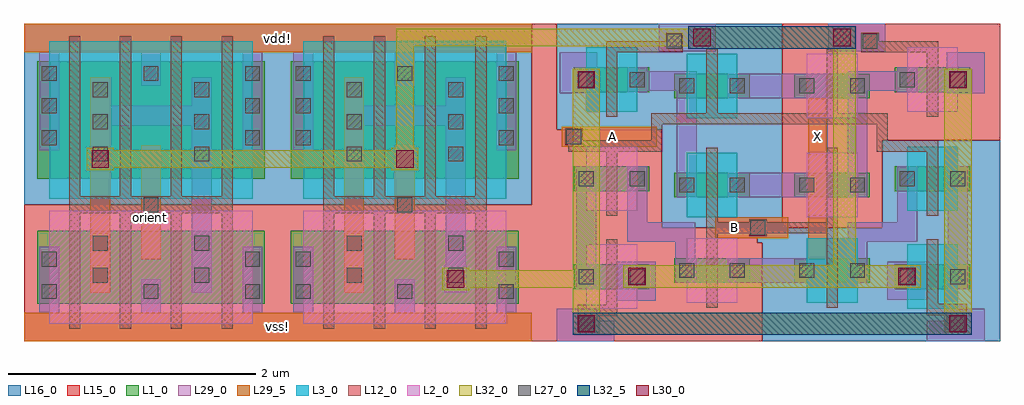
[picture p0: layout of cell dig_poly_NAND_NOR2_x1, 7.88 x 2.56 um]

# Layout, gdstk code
from math import pi, radians
import gdstk
lib = gdstk.Library(unit=1e-6, precision=1e-09)
def R(c, l, rs):  # rectangles x0, y0, x1, y1
    for r in rs: c.add(gdstk.rectangle(r[:2], r[2:], *l))
def A(c, l, x, y, w, h, nx, ny, dx, dy):  # array of equal rectangles
    R(c, l, [(x+i*dx, y+j*dy, x+i*dx+w, y+j*dy+h) for i in range(nx) for j in range(ny)])
L1_0 = (1, 0)
L2_0 = (2, 0)
L3_0 = (3, 0)
L12_0 = (12, 0)
L15_0 = (15, 0)
L16_0 = (16, 0)
L27_0 = (27, 0)
L29_0 = (29, 0)
L29_5 = (29, 5)
L30_0 = (30, 0)
L32_0 = (32, 0)
L32_5 = (32, 5)

nsoim_cdns_570207291820 = lib.new_cell('nsoim_CDNS_570207291820')
R(nsoim_cdns_570207291820, L1_0, [(-0.26,0.2,0,0.4), (0,0.2,0.09,0.4), (0.09,0.2,0.35,0.4)])
R(nsoim_cdns_570207291820, L2_0, [(-0.16,0.04,0.25,0.56)])
R(nsoim_cdns_570207291820, L12_0, [(0,0,0.09,0.09), (0,0.09,0.09,0.2), (0,0.2,0.09,0.4), (0,0.4,0.09,0.51), (0,0.51,0.09,0.6)])
R(nsoim_cdns_570207291820, L15_0, [(-0.32,-0.01,0.41,0.61)])
R(nsoim_cdns_570207291820, L27_0, [(-0.22,0.24,-0.1,0.36), (0.19,0.24,0.31,0.36)])
R(nsoim_cdns_570207291820, L29_0, [(-0.24,0.2,-0.08,0.4), (0.17,0.2,0.33,0.4)])

psoim_cdns_570207291821 = lib.new_cell('psoim_CDNS_570207291821')
R(psoim_cdns_570207291821, L1_0, [(-0.26,0.2,0,0.4), (0,0.2,0.09,0.4), (0.09,0.2,0.35,0.4)])
R(psoim_cdns_570207291821, L3_0, [(-0.16,0.04,0.25,0.56)])
R(psoim_cdns_570207291821, L12_0, [(0,0,0.09,0.09), (0,0.09,0.09,0.2), (0,0.2,0.09,0.4), (0,0.4,0.09,0.51), (0,0.51,0.09,0.6)])
R(psoim_cdns_570207291821, L16_0, [(-0.32,-0.01,0.41,0.61)])
R(psoim_cdns_570207291821, L27_0, [(-0.22,0.24,-0.1,0.36), (0.19,0.24,0.31,0.36)])
R(psoim_cdns_570207291821, L29_0, [(-0.24,0.2,-0.08,0.4), (0.17,0.2,0.33,0.4)])

m1_m2_cdns_570207291820 = lib.new_cell('M1_M2_CDNS_570207291820')
R(m1_m2_cdns_570207291820, L29_0, [(-0.11,-0.09,0.11,0.09)])
R(m1_m2_cdns_570207291820, L30_0, [(-0.07,-0.07,0.07,0.07)])
R(m1_m2_cdns_570207291820, L32_0, [(-0.09,-0.11,0.09,0.11)])

poly_m1_cdns_57020729182 = lib.new_cell('POLY_M1_CDNS_570207291821')
R(poly_m1_cdns_57020729182, L12_0, [(-0.07,-0.07,0.07,0.07)])
R(poly_m1_cdns_57020729182, L27_0, [(-0.06,-0.06,0.06,0.06)])
R(poly_m1_cdns_57020729182, L29_0, [(-0.1,-0.08,0.1,0.08)])

polymorphic_nand_nor2_x1 = lib.new_cell('polymorphic_NAND_NOR2_x1')
R(polymorphic_nand_nor2_x1, L12_0, [(0.31,0.07,0.35,0.205), (3.13,0.07,3.17,0.21), (0.17,0.21,0.195,0.295), (3.285,0.21,3.31,0.3), (1.21,0.87,1.3,0.96), (2.18,0.87,2.27,0.96)])
R(polymorphic_nand_nor2_x1, L15_0, [(0,0,0.08,1.705), (0.08,0,0.81,0.21), (0.81,0,1.62,0.26), (1.62,0,1.66,0.795), (0.81,0.26,0.85,1.705), (0.85,0.26,0.89,0.915), (0.08,0.83,0.81,1), (0.89,0.88,1.62,0.915), (1.82,0.915,1.86,2.56), (1.86,0.915,2.59,0.95), (2.59,0.915,2.63,2.42), (1.86,1.57,2.59,1.75), (0.08,1.62,0.81,1.705), (2.63,1.62,2.67,2.42), (2.67,1.62,3.4,1.81), (3.4,1.62,3.455,2.56), (1.86,2.37,2.59,2.56), (2.59,2.42,3.4,2.56)])
R(polymorphic_nand_nor2_x1, L16_0, [(1.66,0,1.86,0.87), (1.86,0,2.59,0.26), (2.59,0,3.4,0.21), (3.4,0,3.455,1.62), (2.59,0.21,2.63,0.915), (2.63,0.21,2.67,1.62), (1.62,0.795,1.66,2.56), (2.67,0.83,3.4,1), (1.66,0.87,1.82,2.56), (1.82,0.87,1.86,0.915), (1.86,0.88,2.59,0.915), (0.85,0.915,0.89,1.705), (0.89,0.915,1.62,0.95), (0.89,1.57,1.62,1.75), (0,1.705,0.08,2.56), (0.08,1.705,0.89,1.8), (0.81,1.8,0.89,2.42), (0.89,2.37,1.62,2.56), (0.08,2.42,0.89,2.56)])
R(polymorphic_nand_nor2_x1, L29_0, [(0,0,0.33,0.26), (0.305,0,0.465,0.165), (2.99,0,3.15,0.165), (3.15,0,3.455,0.26), (0.48,0.325,0.8,0.64), (2.67,0.335,3,0.64), (1.28,0.83,1.87,1), (0.04,1.57,0.81,1.73), (0.025,2,0.33,2.33), (3.15,2,3.455,2.33), (0.825,2.34,1.285,2.56), (2.195,2.34,2.655,2.56)])
R(polymorphic_nand_nor2_x1, L29_5, [(2.03,0.67,2.18,1.96), (1.28,0.83,1.87,1), (0.04,1.57,0.81,1.73)])
R(polymorphic_nand_nor2_x1, L32_0, [(0.13,0.05,0.35,2.2), (0.35,0.05,3.13,0.23), (3.13,0.05,3.35,2.2), (0.54,0.43,2.94,0.61), (2.235,0.43,2.415,2.54), (3.13,2.02,3.35,2.2), (1.065,2.36,2.415,2.54)])
R(polymorphic_nand_nor2_x1, L32_5, [(0.13,0.05,3.35,0.23), (1.065,2.36,2.415,2.54)])
polymorphic_nand_nor2_x1.add(gdstk.FlexPath([(1.38,1.26),(2.02,1.26)], 0.2, ends=(0, 0.08), simple_path=True, layer=29, datatype=0))  # L29_0
polymorphic_nand_nor2_x1.add(gdstk.FlexPath([(2.11,2.16),(2.11,2.06)], 0.16, ends=(0, 0.1), simple_path=True, layer=29, datatype=0))  # L29_0
polymorphic_nand_nor2_x1.add(gdstk.FlexPath([(1.38,0.57),(2.02,0.57)], 0.2, ends=(0, 0.08), simple_path=True, layer=29, datatype=0))  # L29_0
polymorphic_nand_nor2_x1.add(gdstk.FlexPath([(2.11,0.57),(2.11,0.47)], 0.16, ends=(0.1, 0), simple_path=True, layer=29, datatype=0))  # L29_0
polymorphic_nand_nor2_x1.add(gdstk.FlexPath([(0.24,1.41),(0.24,0.42)], 0.16, ends="flush", simple_path=True, layer=29, datatype=0))  # L29_0
polymorphic_nand_nor2_x1.add(gdstk.FlexPath([(0.65,1.41),(0.65,0.88)], 0.16, ends=(0, 0.08), simple_path=True, layer=29, datatype=0))  # L29_0
polymorphic_nand_nor2_x1.add(gdstk.FlexPath([(2.43,0.88),(2.43,0.47)], 0.16, ends=(0.08, 0), simple_path=True, layer=29, datatype=0))  # L29_0
polymorphic_nand_nor2_x1.add(gdstk.FlexPath([(2.83,0.88),(2.43,0.88)], 0.16, ends="extended", simple_path=True, layer=29, datatype=0))  # L29_0
polymorphic_nand_nor2_x1.add(gdstk.FlexPath([(2.83,1.41),(2.83,0.88)], 0.16, ends=(0, 0.08), simple_path=True, layer=29, datatype=0))  # L29_0
polymorphic_nand_nor2_x1.add(gdstk.FlexPath([(3.24,1.41),(3.24,0.42)], 0.16, ends="flush", simple_path=True, layer=29, datatype=0))  # L29_0
polymorphic_nand_nor2_x1.add(gdstk.FlexPath([(2.43,2.1),(2.43,1.16)], 0.16, ends=(0.08, 0), simple_path=True, layer=29, datatype=0))  # L29_0
polymorphic_nand_nor2_x1.add(gdstk.FlexPath([(2.91,2.1),(2.43,2.1)], 0.16, ends=(0, 0.08), simple_path=True, layer=29, datatype=0))  # L29_0
polymorphic_nand_nor2_x1.add(gdstk.FlexPath([(0.57,2.1),(1.05,2.1)], 0.16, ends=(0, 0.08), simple_path=True, layer=29, datatype=0))  # L29_0
polymorphic_nand_nor2_x1.add(gdstk.FlexPath([(1.05,2.1),(1.05,1.16)], 0.16, ends=(0.08, 0), simple_path=True, layer=29, datatype=0))  # L29_0
polymorphic_nand_nor2_x1.add(gdstk.FlexPath([(1.04,0.88),(1.04,0.47)], 0.16, ends=(0.08, 0), simple_path=True, layer=29, datatype=0))  # L29_0
polymorphic_nand_nor2_x1.add(gdstk.FlexPath([(2.02,2.06),(2.19,2.06)], 0.2, ends=(0.08, 0), simple_path=True, layer=29, datatype=0))  # L29_0
polymorphic_nand_nor2_x1.add(gdstk.FlexPath([(2.11,2.06),(2.11,1.26)], 0.16, ends=(0.1, 0.1), simple_path=True, layer=29, datatype=0))  # L29_0
polymorphic_nand_nor2_x1.add(gdstk.FlexPath([(2.02,0.57),(2.19,0.57)], 0.2, ends=(0.08, 0), simple_path=True, layer=29, datatype=0))  # L29_0
polymorphic_nand_nor2_x1.add(gdstk.FlexPath([(2.02,1.26),(2.19,1.26)], 0.2, ends=(0.08, 0), simple_path=True, layer=29, datatype=0))  # L29_0
polymorphic_nand_nor2_x1.add(gdstk.FlexPath([(1.38,2.06),(2.02,2.06)], 0.2, ends=(0, 0.08), simple_path=True, layer=29, datatype=0))  # L29_0
polymorphic_nand_nor2_x1.add(gdstk.FlexPath([(0.65,0.88),(1.04,0.88)], 0.16, ends="extended", simple_path=True, layer=29, datatype=0))  # L29_0
polymorphic_nand_nor2_x1.add(gdstk.FlexPath([(2.11,1.26),(2.11,0.57)], 0.16, ends=(0.1, 0.1), simple_path=True, layer=29, datatype=0))  # L29_0
polymorphic_nand_nor2_x1.add(gdstk.FlexPath([(2.99,0.255),(3.24,0.255)], 0.09, ends=(0, 0.045), simple_path=True, layer=12, datatype=0))  # L12_0
polymorphic_nand_nor2_x1.add(gdstk.FlexPath([(3.24,0.255),(3.24,0.14)], 0.09, ends=(0.045, 0), simple_path=True, layer=12, datatype=0))  # L12_0
polymorphic_nand_nor2_x1.add(gdstk.FlexPath([(3.24,0.14),(3.24,0.07)], 0.09, ends="flush", simple_path=True, layer=12, datatype=0))  # L12_0
polymorphic_nand_nor2_x1.add(gdstk.FlexPath([(0.49,0.25),(0.24,0.25)], 0.09, ends=(0, 0.045), simple_path=True, layer=12, datatype=0))  # L12_0
polymorphic_nand_nor2_x1.add(gdstk.FlexPath([(0.24,0.25),(0.24,0.14)], 0.09, ends=(0.045, 0), simple_path=True, layer=12, datatype=0))  # L12_0
polymorphic_nand_nor2_x1.add(gdstk.FlexPath([(0.24,0.14),(0.24,0.07)], 0.09, ends="flush", simple_path=True, layer=12, datatype=0))  # L12_0
polymorphic_nand_nor2_x1.add(gdstk.FlexPath([(0.4,2.375),(1.02,2.375)], 0.09, ends="flush", simple_path=True, layer=12, datatype=0))  # L12_0
polymorphic_nand_nor2_x1.add(gdstk.FlexPath([(2.63,1.575),(3.08,1.575)], 0.09, ends=(0.045, 0), simple_path=True, layer=12, datatype=0))  # L12_0
polymorphic_nand_nor2_x1.add(gdstk.FlexPath([(2.63,1.795),(2.63,1.575)], 0.09, ends="extended", simple_path=True, layer=12, datatype=0))  # L12_0
polymorphic_nand_nor2_x1.add(gdstk.FlexPath([(0.81,1.795),(2.63,1.795)], 0.09, ends="extended", simple_path=True, layer=12, datatype=0))  # L12_0
polymorphic_nand_nor2_x1.add(gdstk.FlexPath([(0.81,1.575),(0.81,1.795)], 0.09, ends="extended", simple_path=True, layer=12, datatype=0))  # L12_0
polymorphic_nand_nor2_x1.add(gdstk.FlexPath([(1.21,0.915),(2.27,0.915)], 0.09, ends="flush", simple_path=True, layer=12, datatype=0))  # L12_0
polymorphic_nand_nor2_x1.add(gdstk.FlexPath([(0.49,1.575),(0.14,1.575)], 0.09, ends=(0, 0.045), simple_path=True, layer=12, datatype=0))  # L12_0
polymorphic_nand_nor2_x1.add(gdstk.FlexPath([(0.14,1.575),(0.14,1.65)], 0.09, ends=(0.045, 0), simple_path=True, layer=12, datatype=0))  # L12_0
polymorphic_nand_nor2_x1.add(gdstk.FlexPath([(0.14,1.65),(0.14,1.72)], 0.09, ends="flush", simple_path=True, layer=12, datatype=0))  # L12_0
polymorphic_nand_nor2_x1.add(gdstk.FlexPath([(0.49,1.575),(0.81,1.575)], 0.09, ends=(0, 0.045), simple_path=True, layer=12, datatype=0))  # L12_0
polymorphic_nand_nor2_x1.add(gdstk.FlexPath([(3.08,2.375),(2.46,2.375)], 0.09, ends="flush", simple_path=True, layer=12, datatype=0))  # L12_0
polymorphic_nand_nor2_x1.add(gdstk.Reference(nsoim_cdns_570207291820, (0.49,0.82), rotation=pi))
polymorphic_nand_nor2_x1.add(gdstk.Reference(nsoim_cdns_570207291820, (2.27,2.36), rotation=pi))
polymorphic_nand_nor2_x1.add(gdstk.Reference(nsoim_cdns_570207291820, (1.21,0.27)))
polymorphic_nand_nor2_x1.add(gdstk.Reference(nsoim_cdns_570207291820, (0.4,1.01)))
polymorphic_nand_nor2_x1.add(gdstk.Reference(nsoim_cdns_570207291820, (3.08,2.41), rotation=pi))
polymorphic_nand_nor2_x1.add(gdstk.Reference(nsoim_cdns_570207291820, (2.18,0.96)))
polymorphic_nand_nor2_x1.add(gdstk.Reference(psoim_cdns_570207291821, (2.99,0.22)))
polymorphic_nand_nor2_x1.add(gdstk.Reference(psoim_cdns_570207291821, (0.4,1.81)))
polymorphic_nand_nor2_x1.add(gdstk.Reference(psoim_cdns_570207291821, (1.21,1.76)))
polymorphic_nand_nor2_x1.add(gdstk.Reference(psoim_cdns_570207291821, (1.3,1.56), rotation=pi))
polymorphic_nand_nor2_x1.add(gdstk.Reference(psoim_cdns_570207291821, (2.27,0.87), rotation=pi))
polymorphic_nand_nor2_x1.add(gdstk.Reference(psoim_cdns_570207291821, (2.99,1.01)))
polymorphic_nand_nor2_x1.add(gdstk.Reference(m1_m2_cdns_570207291820, (3.24,0.14), rotation=pi/2))
polymorphic_nand_nor2_x1.add(gdstk.Reference(m1_m2_cdns_570207291820, (0.24,0.14), rotation=pi/2))
polymorphic_nand_nor2_x1.add(gdstk.Reference(m1_m2_cdns_570207291820, (2.305,2.45), rotation=3*pi/2))
polymorphic_nand_nor2_x1.add(gdstk.Reference(m1_m2_cdns_570207291820, (1.175,2.45), rotation=pi/2))
polymorphic_nand_nor2_x1.add(gdstk.Reference(m1_m2_cdns_570207291820, (2.83,0.52), rotation=pi/2))
polymorphic_nand_nor2_x1.add(gdstk.Reference(m1_m2_cdns_570207291820, (0.65,0.52), rotation=pi/2))
polymorphic_nand_nor2_x1.add(gdstk.Reference(m1_m2_cdns_570207291820, (0.24,2.11), rotation=pi/2))
polymorphic_nand_nor2_x1.add(gdstk.Reference(m1_m2_cdns_570207291820, (3.24,2.11), rotation=pi/2))
polymorphic_nand_nor2_x1.add(gdstk.Reference(poly_m1_cdns_57020729182, (0.24,0.14), rotation=pi/2))
polymorphic_nand_nor2_x1.add(gdstk.Reference(poly_m1_cdns_57020729182, (3.24,0.14), rotation=pi/2))
polymorphic_nand_nor2_x1.add(gdstk.Reference(poly_m1_cdns_57020729182, (0.95,2.42)))
polymorphic_nand_nor2_x1.add(gdstk.Reference(poly_m1_cdns_57020729182, (2.53,2.42)))
polymorphic_nand_nor2_x1.add(gdstk.Reference(poly_m1_cdns_57020729182, (1.625,0.915)))
polymorphic_nand_nor2_x1.add(gdstk.Reference(poly_m1_cdns_57020729182, (0.14,1.65)))
polymorphic_nand_nor2_x1.add(gdstk.Label('X', (2.11,1.65), layer=29, texttype=6))
polymorphic_nand_nor2_x1.add(gdstk.Label('B', (1.435,0.915), layer=29, texttype=6))
polymorphic_nand_nor2_x1.add(gdstk.Label('A', (0.455,1.655), layer=29, texttype=6))
polymorphic_nand_nor2_x1.add(gdstk.Label('Vxx', (1.785,0.145), layer=32, texttype=6))
polymorphic_nand_nor2_x1.add(gdstk.Label('Vyy', (1.74,2.46), layer=32, texttype=6))

nsoim_cdns_570207291822 = lib.new_cell('nsoim_CDNS_570207291822')
R(nsoim_cdns_570207291822, L1_0, [(-0.095,0.2,0,0.79), (0,0.2,0.09,0.79), (0.09,0.2,0.185,0.79)])
R(nsoim_cdns_570207291822, L2_0, [(-0.16,0.04,0.25,0.95)])
R(nsoim_cdns_570207291822, L12_0, [(0,0,0.09,0.09), (0,0.09,0.09,0.2), (0,0.2,0.09,0.79), (0,0.79,0.09,0.9), (0,0.9,0.09,0.99)])
R(nsoim_cdns_570207291822, L15_0, [(-0.155,-0.01,0.245,1)])

stdcell_template_cdns_57 = lib.new_cell('stdcell_template_CDNS_570207291823')
R(stdcell_template_cdns_57, L15_0, [(0,0,2.05,1.1)])
R(stdcell_template_cdns_57, L16_0, [(0,1.1,2.05,2.56)])
R(stdcell_template_cdns_57, L29_0, [(0,0,2.05,0.23), (0,2.33,2.05,2.56)])
R(stdcell_template_cdns_57, L29_5, [(0,0,2.05,0.23), (0,2.33,2.05,2.56)])
stdcell_template_cdns_57.add(gdstk.Label('vss!', (1.025,0.115), layer=29, texttype=5))
stdcell_template_cdns_57.add(gdstk.Label('vdd!', (1.025,2.445), layer=29, texttype=5))

psoim_cdns_570207291824 = lib.new_cell('psoim_CDNS_570207291824')
R(psoim_cdns_570207291824, L1_0, [(-0.095,0.2,0,1.15), (0,0.2,0.09,1.15), (0.09,0.2,0.185,1.15)])
R(psoim_cdns_570207291824, L3_0, [(-0.16,0.04,0.25,1.31)])
R(psoim_cdns_570207291824, L12_0, [(0,0,0.09,0.09), (0,0.09,0.09,0.2), (0,0.2,0.09,1.15), (0,1.15,0.09,1.26), (0,1.26,0.09,1.35)])
R(psoim_cdns_570207291824, L16_0, [(-0.155,-0.01,0.245,1.36)])

c_poly_m1_cdns_57020729182 = lib.new_cell('POLY_M1_CDNS_570207291822')
R(c_poly_m1_cdns_57020729182, L12_0, [(-0.07,-0.07,0.07,0.07)])
R(c_poly_m1_cdns_57020729182, L27_0, [(-0.06,-0.06,0.06,0.06)])
R(c_poly_m1_cdns_57020729182, L29_0, [(-0.08,-0.1,0.08,0.1)])

act_m1_cdns_570207291823 = lib.new_cell('ACT_M1_CDNS_570207291823')
R(act_m1_cdns_570207291823, L1_0, [(-0.1,-0.1,0.1,0.1)])
R(act_m1_cdns_570207291823, L27_0, [(-0.06,-0.06,0.06,0.06)])
R(act_m1_cdns_570207291823, L29_0, [(-0.08,-0.1,0.08,0.1)])

act_m1_cdns_570207291824 = lib.new_cell('ACT_M1_CDNS_570207291824')
R(act_m1_cdns_570207291824, L1_0, [(-0.1,-0.23,0.1,0.23)])
R(act_m1_cdns_570207291824, L27_0, [(-0.06,-0.19,0.06,-0.07), (-0.06,0.07,0.06,0.19)])
R(act_m1_cdns_570207291824, L29_0, [(-0.08,-0.23,0.08,0.23)])

act_m1_cdns_570207291825 = lib.new_cell('ACT_M1_CDNS_570207291825')
R(act_m1_cdns_570207291825, L1_0, [(-0.1,-0.36,0.1,0.36)])
A(act_m1_cdns_570207291825, L27_0, -0.06, -0.32, 0.12, 0.12, 1, 3, 0, 0.26)
R(act_m1_cdns_570207291825, L29_0, [(-0.08,-0.36,0.08,0.36)])

inv_4x = lib.new_cell('inv_4x')
R(inv_4x, L1_0, [(0.105,0.3,1.945,0.89), (0.105,1.31,1.945,2.26)])
R(inv_4x, L12_0, [(0.365,0.1,0.455,2.46), (0.775,0.1,0.865,2.46), (0.365,1.03,1.685,1.17)])
A(inv_4x, L29_0, 0.125, 0.23, 0.16, 0.27, 3, 2, 0.82, 1.83)
R(inv_4x, L29_0, [(0.535,1.74,1.515,1.9)])
R(inv_4x, L29_5, [(0,0,2.05,0.23), (0.535,0.39,0.695,2.13), (0.945,0.66,1.105,1.58), (0,2.33,2.05,2.56)])
inv_4x.add(gdstk.FlexPath([(1.435,2.13),(1.435,0.39)], 0.16, ends="flush", simple_path=True, layer=29, datatype=0))  # L29_0
inv_4x.add(gdstk.FlexPath([(1.025,1.58),(1.025,0.66)], 0.16, ends="flush", simple_path=True, layer=29, datatype=0))  # L29_0
inv_4x.add(gdstk.FlexPath([(0.615,2.13),(0.615,0.39)], 0.16, ends="flush", simple_path=True, layer=29, datatype=0))  # L29_0
inv_4x.add(gdstk.Reference(nsoim_cdns_570207291822, (1.595,0.1)))
inv_4x.add(gdstk.Reference(nsoim_cdns_570207291822, (1.185,0.1)))
inv_4x.add(gdstk.Reference(nsoim_cdns_570207291822, (0.775,0.1)))
inv_4x.add(gdstk.Reference(nsoim_cdns_570207291822, (0.365,0.1)))
inv_4x.add(gdstk.Reference(stdcell_template_cdns_57, (0,0)))
inv_4x.add(gdstk.Reference(psoim_cdns_570207291824, (1.595,1.11)))
inv_4x.add(gdstk.Reference(psoim_cdns_570207291824, (1.185,1.11)))
inv_4x.add(gdstk.Reference(psoim_cdns_570207291824, (0.775,1.11)))
inv_4x.add(gdstk.Reference(psoim_cdns_570207291824, (0.365,1.11)))
inv_4x.add(gdstk.Reference(c_poly_m1_cdns_57020729182, (1.025,1.1)))
inv_4x.add(gdstk.Reference(act_m1_cdns_570207291823, (1.025,0.4)))
inv_4x.add(gdstk.Reference(act_m1_cdns_570207291823, (1.025,2.16)))
inv_4x.add(gdstk.Reference(act_m1_cdns_570207291824, (1.845,0.53)))
inv_4x.add(gdstk.Reference(act_m1_cdns_570207291824, (1.435,0.66)))
inv_4x.add(gdstk.Reference(act_m1_cdns_570207291824, (0.205,0.53)))
inv_4x.add(gdstk.Reference(act_m1_cdns_570207291824, (0.615,0.66)))
inv_4x.add(gdstk.Reference(act_m1_cdns_570207291825, (1.845,1.9)))
inv_4x.add(gdstk.Reference(act_m1_cdns_570207291825, (1.435,1.77)))
inv_4x.add(gdstk.Reference(act_m1_cdns_570207291825, (0.615,1.77)))
inv_4x.add(gdstk.Reference(act_m1_cdns_570207291825, (0.205,1.9)))
inv_4x.add(gdstk.Label('vss!', (0.385,0.115), layer=29, texttype=6))
inv_4x.add(gdstk.Label('vdd!', (0.385,2.445), layer=29, texttype=6))
inv_4x.add(gdstk.Label('A', (1.025,1.315), layer=29, texttype=6))
inv_4x.add(gdstk.Label('X', (0.615,1.31), layer=29, texttype=6))

dig_poly_nand_nor2_x1 = lib.new_cell('dig_poly_NAND_NOR2_x1')
R(dig_poly_nand_nor2_x1, L15_0, [(4.1,0,4.3,2.56), (7.755,1.62,7.88,2.56)])
R(dig_poly_nand_nor2_x1, L16_0, [(7.755,0,7.88,1.62)])
R(dig_poly_nand_nor2_x1, L29_5, [(0,0,4.1,0.23), (0.945,0.66,1.105,1.58), (6.33,0.67,6.48,1.96), (5.58,0.83,6.17,1), (4.34,1.57,5.11,1.73), (0,2.33,4.1,2.56)])
dig_poly_nand_nor2_x1.add(gdstk.FlexPath([(3.485,0.5),(4.65,0.5)], 0.14, ends="flush", simple_path=True, layer=32, datatype=0))  # L32_0
dig_poly_nand_nor2_x1.add(gdstk.FlexPath([(3.075,1.47),(3.075,1.38)], 0.14, ends=(0.07, 0), simple_path=True, layer=32, datatype=0))  # L32_0
dig_poly_nand_nor2_x1.add(gdstk.FlexPath([(3.075,2.45),(3.075,1.47)], 0.14, ends="extended", simple_path=True, layer=32, datatype=0))  # L32_0
dig_poly_nand_nor2_x1.add(gdstk.FlexPath([(5.475,2.45),(3.075,2.45)], 0.14, ends=(0, 0.07), simple_path=True, layer=32, datatype=0))  # L32_0
dig_poly_nand_nor2_x1.add(gdstk.FlexPath([(3.075,1.47),(0.535,1.47)], 0.14, ends=(0.07, 0), simple_path=True, layer=32, datatype=0))  # L32_0
dig_poly_nand_nor2_x1.add(gdstk.Reference(polymorphic_nand_nor2_x1, (4.3,0)))
dig_poly_nand_nor2_x1.add(gdstk.Reference(inv_4x, (0,0)))
dig_poly_nand_nor2_x1.add(gdstk.Reference(inv_4x, (2.05,0)))
dig_poly_nand_nor2_x1.add(gdstk.Reference(m1_m2_cdns_570207291820, (3.485,0.5), rotation=pi/2))
dig_poly_nand_nor2_x1.add(gdstk.Reference(m1_m2_cdns_570207291820, (0.615,1.47), rotation=pi/2))
dig_poly_nand_nor2_x1.add(gdstk.Reference(m1_m2_cdns_570207291820, (3.075,1.47), rotation=pi/2))
dig_poly_nand_nor2_x1.add(gdstk.Label('vss!', (2.05,0.12), layer=29, texttype=6))
dig_poly_nand_nor2_x1.add(gdstk.Label('vdd!', (2.05,2.44), layer=29, texttype=6))
dig_poly_nand_nor2_x1.add(gdstk.Label('X', (6.41,1.65), layer=29, texttype=6))
dig_poly_nand_nor2_x1.add(gdstk.Label('B', (5.735,0.915), layer=29, texttype=6))
dig_poly_nand_nor2_x1.add(gdstk.Label('A', (4.755,1.655), layer=29, texttype=6))
dig_poly_nand_nor2_x1.add(gdstk.Label('orient', (1.025,0.995), layer=29, texttype=6))

lib.write_gds('dig_poly_NAND_NOR2_x1.gds')
